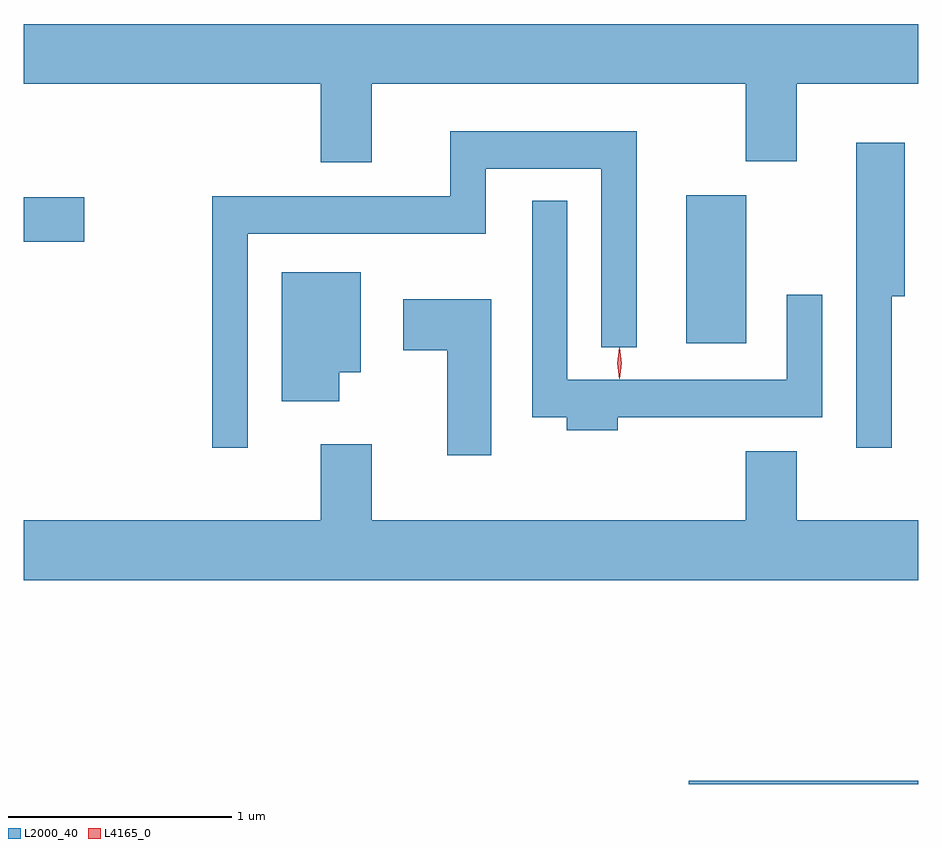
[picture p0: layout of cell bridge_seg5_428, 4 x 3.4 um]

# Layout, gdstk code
import gdstk
lib = gdstk.Library(unit=1e-6, precision=1e-09)
def R(c, l, rs):  # rectangles x0, y0, x1, y1
    for r in rs: c.add(gdstk.rectangle(r[:2], r[2:], *l))
def P(c, l, *ps):  # polygons
    for p in ps: c.add(gdstk.Polygon(p, *l))
L2000_40 = (2000, 40)
L4165_0 = (4165, 0)

bridge_seg5_428 = lib.new_cell('bridge_seg5_428')
R(bridge_seg5_428, L2000_40, [(388.796,1489.185,389.823,1489.199), (388.786,1491.156,389.054,1491.819), (385.823,1491.611,386.094,1491.809)])
P(bridge_seg5_428, L2000_40, [(387.379,1492.316),(389.051,1492.316),(389.051,1491.971),(389.279,1491.971),(389.279,1492.316),(389.823,1492.316),(389.823,1492.584),(385.823,1492.584),(385.823,1492.316),(387.151,1492.316),(387.151,1491.966),(387.379,1491.966)],
  [(386.824,1491.646),(387.889,1491.646),(387.889,1491.936),(388.406,1491.936),(388.406,1491.138),(388.564,1491.138),(388.564,1492.104),(387.731,1492.104),(387.731,1491.814),(386.666,1491.814),(386.666,1490.688),(386.824,1490.688)],
  [(389.704,1491.366),(389.764,1491.366),(389.764,1492.054),(389.546,1492.054),(389.546,1490.688),(389.704,1490.688)],
  [(388.479,1490.826),(389.394,1490.826),(389.394,1491.373),(389.236,1491.373),(389.236,1490.994),(388.254,1490.994),(388.254,1491.793),(388.096,1491.793),(388.096,1490.826),(388.251,1490.826),(388.251,1490.766),(388.479,1490.766)],
  [(387.234,1491.026),(387.329,1491.026),(387.329,1491.474),(386.976,1491.474),(386.976,1490.896),(387.234,1490.896)],
  [(387.914,1491.354),(387.521,1491.354),(387.521,1491.126),(387.716,1491.126),(387.716,1490.656),(387.914,1490.656)],
  [(389.823,1490.364),(389.279,1490.364),(389.279,1490.674),(389.051,1490.674),(389.051,1490.364),(387.379,1490.364),(387.379,1490.704),(387.151,1490.704),(387.151,1490.364),(385.823,1490.364),(385.823,1490.096),(389.823,1490.096)])
P(bridge_seg5_428, L4165_0, [(388.487,1490.997),(388.478,1491.067),(388.487,1491.136),(388.488,1491.136),(388.488,1491.136),(388.498,1491.067),(388.488,1490.997),(388.488,1490.997)],
  [(388.486,1490.999),(388.486,1491),(388.476,1491.066),(388.486,1491.132),(388.486,1491.133),(388.487,1491.132),(388.496,1491.066),(388.487,1491)])

lib.write_gds('bridge_seg5_428.gds')
